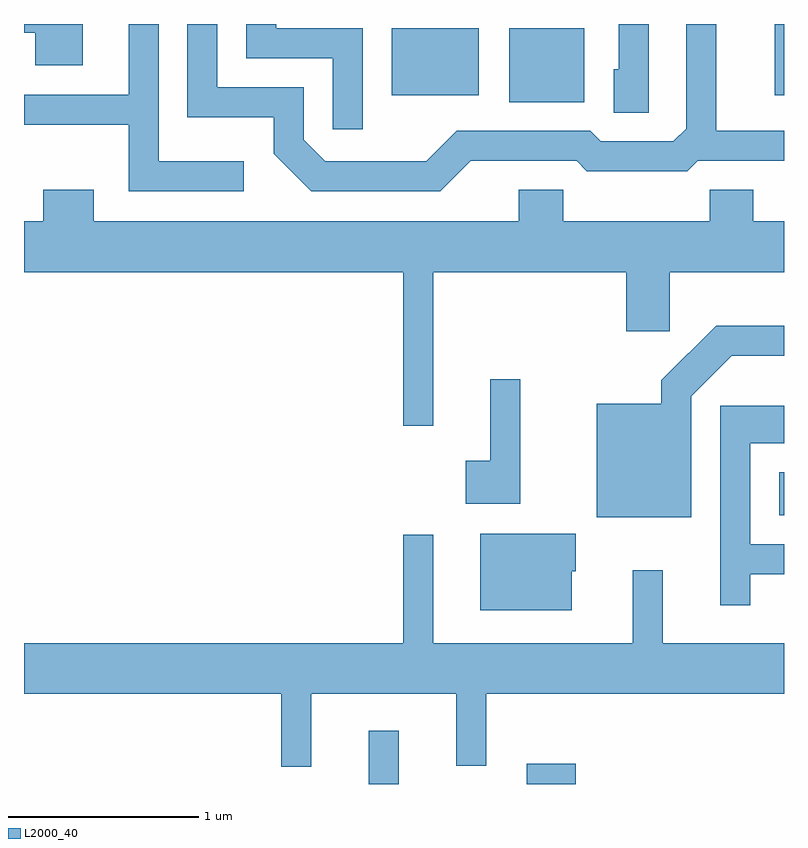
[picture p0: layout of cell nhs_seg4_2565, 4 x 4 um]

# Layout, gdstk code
import gdstk
lib = gdstk.Library(unit=1e-6, precision=1e-09)
def R(c, l, rs):  # rectangles x0, y0, x1, y1
    for r in rs: c.add(gdstk.rectangle(r[:2], r[2:], *l))
def P(c, l, *ps):  # polygons
    for p in ps: c.add(gdstk.Polygon(p, *l))
L2000_40 = (2000, 40)

nhs_seg4_2565 = lib.new_cell('nhs_seg4_2565')
R(nhs_seg4_2565, L2000_40, [(261.426,1351.982,261.584,1352.263), (262.256,1351.982,262.514,1352.089), (263.586,1353.396,263.611,1353.624), (262.166,1355.571,262.559,1355.959), (261.546,1355.606,262.004,1355.959), (263.561,1355.606,263.611,1355.982)])
P(nhs_seg4_2565, L2000_40, [(260.767,1355.259),(260.319,1355.259),(260.319,1355.982),(260.161,1355.982),(260.161,1355.609),(259.611,1355.609),(259.611,1355.451),(260.161,1355.451),(260.161,1355.101),(260.767,1355.101)],
  [(259.919,1355.982),(259.611,1355.982),(259.611,1355.936),(259.671,1355.936),(259.671,1355.766),(259.919,1355.766)],
  [(261.962,1355.261),(262.519,1355.261),(262.574,1355.206),(263.102,1355.206),(263.157,1355.261),(263.611,1355.261),(263.611,1355.419),(263.254,1355.419),(263.254,1355.982),(263.096,1355.982),(263.096,1355.432),(263.029,1355.364),(262.647,1355.364),(262.592,1355.419),(261.889,1355.419),(261.729,1355.259),(261.197,1355.259),(261.084,1355.372),(261.084,1355.649),(260.629,1355.649),(260.629,1355.982),(260.471,1355.982),(260.471,1355.491),(260.926,1355.491),(260.926,1355.299),(261.123,1355.101),(261.802,1355.101)],
  [(261.394,1355.959),(260.939,1355.959),(260.939,1355.982),(260.781,1355.982),(260.781,1355.801),(261.236,1355.801),(261.236,1355.428),(261.394,1355.428)],
  [(262.899,1355.982),(262.741,1355.982),(262.741,1355.744),(262.716,1355.744),(262.716,1355.516),(262.899,1355.516)],
  [(261.764,1354.676),(262.781,1354.676),(262.781,1354.366),(263.009,1354.366),(263.009,1354.676),(263.611,1354.676),(263.611,1354.944),(263.449,1354.944),(263.449,1355.109),(263.221,1355.109),(263.221,1354.944),(262.449,1354.944),(262.449,1355.109),(262.216,1355.109),(262.216,1354.944),(259.979,1354.944),(259.979,1355.109),(259.711,1355.109),(259.711,1354.944),(259.611,1354.944),(259.611,1354.676),(261.606,1354.676),(261.606,1353.868),(261.764,1353.868)],
  [(263.124,1354.024),(263.337,1354.236),(263.611,1354.236),(263.611,1354.394),(263.254,1354.394),(262.966,1354.107),(262.966,1353.984),(262.626,1353.984),(262.626,1353.386),(263.124,1353.386)],
  [(262.224,1354.113),(262.066,1354.113),(262.066,1353.684),(261.936,1353.684),(261.936,1353.456),(262.224,1353.456)],
  [(263.434,1353.086),(263.611,1353.086),(263.611,1353.244),(263.434,1353.244),(263.434,1353.776),(263.611,1353.776),(263.611,1353.974),(263.276,1353.974),(263.276,1352.923),(263.434,1352.923)],
  [(262.494,1353.101),(262.514,1353.101),(262.514,1353.299),(262.011,1353.299),(262.011,1352.896),(262.494,1352.896)],
  [(261.124,1352.456),(261.886,1352.456),(261.886,1352.078),(262.044,1352.078),(262.044,1352.456),(263.611,1352.456),(263.611,1352.724),(262.974,1352.724),(262.974,1353.108),(262.816,1353.108),(262.816,1352.724),(261.764,1352.724),(261.764,1353.293),(261.606,1353.293),(261.606,1352.724),(259.611,1352.724),(259.611,1352.456),(260.966,1352.456),(260.966,1352.073),(261.124,1352.073)])

lib.write_gds('nhs_seg4_2565.gds')
